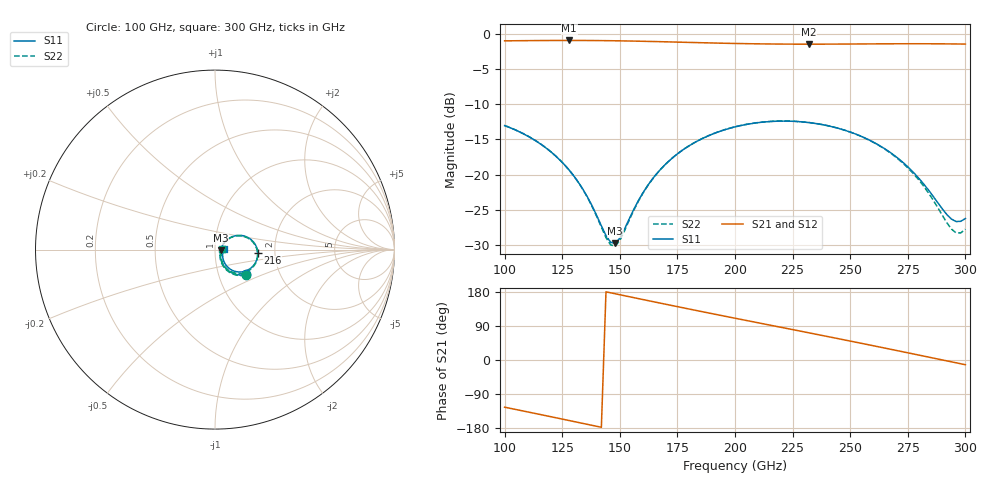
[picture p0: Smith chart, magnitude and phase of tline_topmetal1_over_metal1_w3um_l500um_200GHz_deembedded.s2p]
! Created with skrf 2.2.0 (http://scikit-rf.org).
# GHz S DB R 50.0
! Port[1] = P1
! Port[2] = P2
!freq dBS11 angS11 dBS21 angS21 dBS12 angS12 dBS22 angS22
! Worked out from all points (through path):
!   101 points, 100 GHz to 300 GHz, reference 50 ohm
!   highest |S21| = -0.93 dB at 128 GHz (marker M1); lowest = -1.5 dB at 232 GHz (marker M2)
!   group delay of S21, straight-line fit = 3.42 ps
!   lowest |S11| = -29.8 dB at 148 GHz (marker M3), VSWR 1.07, Z = 53.3 - j0.335 ohm
!   |S11| at or under -10 dB: start of sweep to end of sweep
!   |S22| runs from -30.2 to -12.4 dB; largest |S21 - S12| = 1.5e-13
!   S11 on the Smith chart (normalised r, x): 100 GHz: 1.36, -0.40; 216 GHz: 1.62, -0.07; 300 GHz: 1.10, +0.00
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100  -13.03 -38.3  -0.99 -124.5  -0.99 -124.5  -13.02 -39.4
116  -15.74 -53.3  -0.94 -144.5  -0.94 -144.5  -15.72 -54.8
128  -19.34 -61.2  -0.93 -159.7  -0.93 -159.7  -19.35 -63.0
134  -22.08 -61.4  -0.94 -167.4  -0.94 -167.4  -22.12 -63.6
138  -24.46 -57.6  -0.94 -172.5  -0.94 -172.5  -24.54 -60.1
144  -28.64 -36.4  -0.96 179.9  -0.96 179.9  -28.93 -39.0
146  -29.61 -22.1  -0.97 177.3  -0.97 177.3  -29.99 -24.2
148  -29.76 -5.5  -0.98 174.8  -0.98 174.8  -30.16 -6.7
150  -29.03 9.7  -0.99 172.2  -0.99 172.2  -29.37 9.3
160  -22.60 38.3  -1.05 159.6  -1.05 159.6  -22.66 37.9
168  -19.13 37.9  -1.11 149.5  -1.11 149.5  -19.15 37.1
182  -15.53 28.1  -1.22 132.2  -1.22 132.2  -15.52 26.8
200  -13.21 11.2  -1.36 110.3  -1.36 110.3  -13.20 9.5
216  -12.44 -4.7  -1.43 91.0  -1.43 91.0  -12.42 -6.8
232  -12.60 -20.5  -1.46 71.8  -1.46 71.8  -12.59 -23.1
234  -12.69 -22.5  -1.46 69.4  -1.46 69.4  -12.67 -25.1
250  -13.95 -37.6  -1.44 50.0  -1.44 50.0  -13.95 -40.9
268  -16.99 -51.6  -1.41 27.7  -1.41 27.7  -17.06 -56.2
280  -20.59 -54.5  -1.40 12.7  -1.40 12.7  -20.84 -60.8
294  -26.33 -26.7  -1.42 -4.9  -1.42 -4.9  -27.75 -32.9
296  -26.67 -17.3  -1.43 -7.4  -1.43 -7.4  -28.28 -21.4
300  -26.24 1.7  -1.45 -12.5  -1.45 -12.5  -27.74 2.4
